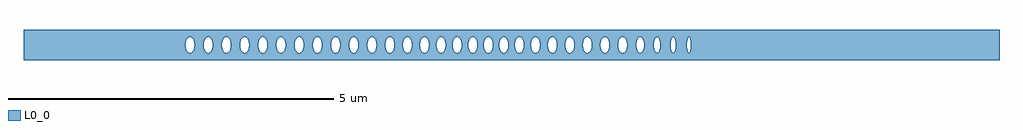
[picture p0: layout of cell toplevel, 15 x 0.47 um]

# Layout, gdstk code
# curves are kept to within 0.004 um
import gdstk
lib = gdstk.Library(unit=1e-6, precision=1e-09)
def P(c, l, *ps):  # polygons
    for p in ps: c.add(gdstk.Polygon(p, *l))
L0_0 = (0, 0)

toplevel = lib.new_cell('toplevel')
P(toplevel, L0_0, [(-4.451,0.016),(-4.438,0.072),(-4.438,0.235),(-7.5,0.235),(-7.5,-0.016),(-5.011,-0.016),(-5.008,0.038),(-4.998,0.073),(-4.975,0.109),(-4.945,0.124),(-4.919,0.118),(-4.889,0.085),(-4.875,0.046),(-4.87,0),(-4.732,0),(-4.727,0.046),(-4.712,0.085),(-4.695,0.109),(-4.666,0.124),(-4.639,0.118),(-4.616,0.096),(-4.599,0.06),(-4.591,0.016),(-4.594,-0.038),(-4.604,-0.073),(-4.627,-0.109),(-4.657,-0.124),(-4.683,-0.118),(-4.706,-0.096),(-4.727,-0.046),(-4.732,0),(-4.87,0),(-4.875,-0.046),(-4.889,-0.085),(-4.907,-0.109),(-4.936,-0.124),(-4.963,-0.118),(-4.986,-0.096),(-5.003,-0.06),(-5.011,-0.016),(-7.5,-0.016),(-7.5,-0.235),(-4.438,-0.235),(-4.438,-0.073),(-4.45,-0.031)],
  [(-4.436,0.078),(-4.419,0.105),(-4.403,0.118),(-4.386,0.124),(-4.368,0.122),(-4.347,0.109),(-4.324,0.073),(-4.313,0.031),(-4.312,-0.016),(-4.172,-0.016),(-4.169,0.038),(-4.153,0.085),(-4.128,0.115),(-4.097,0.124),(-4.068,0.109),(-4.05,0.085),(-4.036,0.046),(-4.031,-0.008),(-4.036,-0.046),(-4.05,-0.085),(-4.068,-0.109),(-4.097,-0.124),(-4.123,-0.118),(-4.147,-0.096),(-4.159,-0.073),(-4.172,-0.016),(-4.312,-0.016),(-4.32,-0.06),(-4.336,-0.096),(-4.355,-0.115),(-4.377,-0.124),(-4.395,-0.122),(-4.415,-0.109),(-4.438,-0.073),(-4.438,-0.235),(-3.818,-0.235),(-3.818,-0.124),(-3.844,-0.118),(-3.867,-0.096),(-3.884,-0.06),(-3.892,-0.016),(-3.888,0.046),(-3.873,0.085),(-3.844,0.118),(-3.818,0.124),(-3.818,0.235),(-4.438,0.235)],
  [(-3.818,0.235),(-3.818,0.124),(-3.788,0.109),(-3.771,0.085),(-3.756,0.046),(-3.752,-0.008),(-3.613,-0.008),(-3.611,0.031),(-3.597,0.079),(-3.576,0.109),(-3.547,0.124),(-3.521,0.118),(-3.497,0.096),(-3.485,0.073),(-3.472,0.016),(-3.475,-0.038),(-3.485,-0.073),(-3.508,-0.109),(-3.538,-0.124),(-3.564,-0.118),(-3.591,-0.09),(-3.608,-0.046),(-3.613,-0.008),(-3.752,-0.008),(-3.756,-0.046),(-3.777,-0.096),(-3.8,-0.118),(-3.818,-0.124),(-3.818,-0.235),(-3.197,-0.235),(-3.197,-0.046),(-3.208,-0.079),(-3.225,-0.105),(-3.249,-0.122),(-3.267,-0.124),(-3.289,-0.115),(-3.308,-0.096),(-3.32,-0.073),(-3.333,-0.016),(-3.33,0.038),(-3.32,0.073),(-3.297,0.109),(-3.276,0.122),(-3.249,0.122),(-3.229,0.109),(-3.211,0.085),(-3.197,0.046),(-3.197,0.235)],
  [(-2.493,0.016),(-2.491,0.235),(-3.197,0.235),(-3.193,-0.016),(-3.053,-0.016),(-3.05,0.038),(-3.04,0.073),(-3.017,0.109),(-2.987,0.124),(-2.961,0.118),(-2.938,0.096),(-2.917,0.046),(-2.913,-0.008),(-2.774,-0.008),(-2.769,0.046),(-2.758,0.079),(-2.737,0.109),(-2.708,0.124),(-2.681,0.118),(-2.658,0.096),(-2.641,0.06),(-2.633,0.016),(-2.636,-0.038),(-2.646,-0.073),(-2.669,-0.109),(-2.699,-0.124),(-2.725,-0.118),(-2.748,-0.096),(-2.765,-0.06),(-2.774,-0.008),(-2.913,-0.008),(-2.917,-0.046),(-2.938,-0.096),(-2.961,-0.118),(-2.978,-0.124),(-3.005,-0.118),(-3.028,-0.096),(-3.045,-0.06),(-3.053,-0.016),(-3.193,-0.016),(-3.197,-0.235),(-2.491,-0.235)],
  [(-1.939,0.016),(-1.924,0.079),(-1.891,0.118),(-1.891,0.235),(-2.491,0.235),(-2.491,0.038),(-2.481,0.073),(-2.461,0.105),(-2.437,0.122),(-2.419,0.124),(-2.39,0.109),(-2.369,0.079),(-2.356,0.038),(-2.354,-0.016),(-2.215,-0.016),(-2.212,0.038),(-2.196,0.085),(-2.171,0.115),(-2.14,0.124),(-2.111,0.109),(-2.093,0.085),(-2.079,0.046),(-2.074,0.008),(-2.076,-0.031),(-2.09,-0.079),(-2.111,-0.109),(-2.14,-0.124),(-2.166,-0.118),(-2.19,-0.096),(-2.202,-0.073),(-2.215,-0.016),(-2.354,-0.016),(-2.358,-0.046),(-2.375,-0.09),(-2.39,-0.109),(-2.419,-0.124),(-2.437,-0.122),(-2.461,-0.105),(-2.481,-0.073),(-2.491,-0.038),(-2.491,-0.235),(-1.891,-0.235),(-1.891,-0.118),(-1.914,-0.096),(-1.929,-0.066),(-1.938,-0.031)],
  [(-1.882,0.122),(-1.847,0.118),(-1.824,0.096),(-1.805,0.053),(-1.799,-0.008),(-1.67,-0.008),(-1.667,0.038),(-1.645,0.096),(-1.613,0.122),(-1.586,0.122),(-1.562,0.105),(-1.545,0.079),(-1.531,0.031),(-1.529,-0.008),(-1.534,-0.046),(-1.548,-0.085),(-1.566,-0.109),(-1.595,-0.124),(-1.621,-0.118),(-1.645,-0.096),(-1.665,-0.046),(-1.67,-0.008),(-1.799,-0.008),(-1.805,-0.053),(-1.831,-0.105),(-1.86,-0.123),(-1.891,-0.118),(-1.891,-0.235),(-1.296,-0.235),(-1.296,-0.1),(-1.315,-0.118),(-1.333,-0.124),(-1.35,-0.122),(-1.371,-0.109),(-1.397,-0.066),(-1.408,-0.008),(-1.399,0.06),(-1.371,0.109),(-1.35,0.122),(-1.333,0.124),(-1.315,0.118),(-1.296,0.1),(-1.296,0.235),(-1.891,0.235),(-1.891,0.118)],
  [(-0.905,0.016),(-0.901,0.046),(-0.884,0.09),(-0.869,0.109),(-0.84,0.124),(-0.814,0.118),(-0.791,0.096),(-0.778,0.073),(-0.766,0.023),(-0.766,0.235),(-1.296,0.235),(-1.296,0.1),(-1.273,0.053),(-1.267,-0.016),(-1.153,-0.016),(-1.15,0.038),(-1.14,0.073),(-1.117,0.109),(-1.087,0.124),(-1.061,0.118),(-1.034,0.09),(-1.017,0.046),(-1.012,0.008),(-1.014,-0.031),(-1.028,-0.079),(-1.049,-0.109),(-1.078,-0.124),(-1.104,-0.118),(-1.128,-0.096),(-1.14,-0.073),(-1.153,-0.016),(-1.267,-0.016),(-1.275,-0.06),(-1.296,-0.1),(-1.296,-0.235),(-0.766,-0.235),(-0.766,-0.023),(-0.778,-0.073),(-0.801,-0.109),(-0.822,-0.122),(-0.849,-0.122),(-0.873,-0.105),(-0.89,-0.079),(-0.904,-0.031)],
  [(-0.167,-0.235),(-0.167,-0.09),(-0.189,-0.016),(-0.186,0.038),(-0.167,0.09),(-0.167,0.235),(-0.766,0.235),(-0.766,-0.016),(-0.664,-0.016),(-0.661,0.038),(-0.651,0.073),(-0.628,0.109),(-0.598,0.124),(-0.572,0.118),(-0.543,0.085),(-0.528,0.046),(-0.524,-0.016),(-0.426,-0.016),(-0.423,0.038),(-0.413,0.073),(-0.39,0.109),(-0.36,0.124),(-0.334,0.118),(-0.304,0.085),(-0.29,0.046),(-0.285,0),(-0.29,-0.046),(-0.304,-0.085),(-0.322,-0.109),(-0.351,-0.124),(-0.378,-0.118),(-0.401,-0.096),(-0.418,-0.06),(-0.426,-0.016),(-0.524,-0.016),(-0.532,-0.06),(-0.549,-0.096),(-0.572,-0.118),(-0.59,-0.124),(-0.616,-0.118),(-0.639,-0.096),(-0.656,-0.06),(-0.664,-0.016),(-0.766,-0.016),(-0.766,-0.235)],
  [(-0.16,0.1),(-0.145,0.115),(-0.123,0.124),(-0.105,0.122),(-0.081,0.105),(-0.064,0.079),(-0.053,0.046),(-0.049,-0.016),(0.051,-0.016),(0.057,0.053),(0.076,0.096),(0.099,0.118),(0.134,0.122),(0.155,0.109),(0.173,0.085),(0.187,0.046),(0.192,0),(0.187,-0.046),(0.173,-0.085),(0.155,-0.109),(0.134,-0.122),(0.108,-0.122),(0.083,-0.105),(0.059,-0.06),(0.051,-0.016),(-0.049,-0.016),(-0.067,-0.085),(-0.085,-0.109),(-0.105,-0.122),(-0.123,-0.124),(-0.14,-0.118),(-0.167,-0.09),(-0.167,-0.235),(0.374,-0.235),(0.374,-0.124),(0.347,-0.118),(0.324,-0.096),(0.307,-0.06),(0.299,-0.016),(0.302,0.038),(0.318,0.085),(0.347,0.118),(0.374,0.124),(0.374,0.235),(-0.167,0.235),(-0.167,0.09)],
  [(0.826,0.016),(0.844,0.085),(0.862,0.109),(0.882,0.122),(0.909,0.122),(0.93,0.109),(0.957,0.06),(0.957,0.235),(0.374,0.235),(0.374,0.124),(0.403,0.109),(0.426,0.073),(0.435,0.046),(0.439,-0.016),(0.558,-0.016),(0.561,0.038),(0.571,0.073),(0.594,0.109),(0.624,0.124),(0.65,0.118),(0.677,0.09),(0.694,0.046),(0.699,0.008),(0.697,-0.031),(0.683,-0.079),(0.662,-0.109),(0.633,-0.124),(0.607,-0.118),(0.583,-0.096),(0.571,-0.073),(0.558,-0.016),(0.439,-0.016),(0.431,-0.06),(0.414,-0.096),(0.391,-0.118),(0.374,-0.124),(0.374,-0.235),(0.957,-0.235),(0.957,-0.06),(0.941,-0.096),(0.922,-0.115),(0.9,-0.124),(0.874,-0.118),(0.851,-0.096),(0.836,-0.066),(0.826,-0.023)],
  [(0.965,-0.023),(0.957,-0.06),(0.957,-0.235),(1.641,-0.235),(1.641,0.235),(0.957,0.235),(0.957,0.059),(0.966,-0.008),(1.095,-0.008),(1.097,0.031),(1.111,0.079),(1.132,0.109),(1.161,0.124),(1.196,0.112),(1.217,0.085),(1.233,0.038),(1.236,-0.008),(1.365,-0.008),(1.368,0.038),(1.391,0.096),(1.422,0.122),(1.44,0.124),(1.457,0.118),(1.49,0.079),(1.504,0.031),(1.506,-0.008),(1.49,-0.079),(1.473,-0.105),(1.449,-0.122),(1.422,-0.122),(1.391,-0.096),(1.374,-0.06),(1.365,-0.008),(1.236,-0.008),(1.233,-0.038),(1.217,-0.085),(1.2,-0.109),(1.17,-0.124),(1.144,-0.118),(1.117,-0.09),(1.1,-0.046),(1.095,-0.008),(0.966,-0.008)],
  [(1.643,0.046),(1.67,0.105),(1.695,0.122),(1.713,0.124),(1.742,0.109),(1.765,0.073),(1.774,0.046),(1.778,-0.015),(1.918,-0.015),(1.922,0.045),(1.934,0.084),(1.956,0.114),(1.982,0.123),(2.008,0.108),(2.023,0.084),(2.035,0.045),(2.039,-0.008),(2.023,-0.084),(2.008,-0.108),(1.982,-0.123),(1.96,-0.117),(1.937,-0.09),(1.925,-0.059),(1.918,-0.015),(1.778,-0.015),(1.77,-0.06),(1.753,-0.096),(1.73,-0.118),(1.713,-0.124),(1.695,-0.122),(1.67,-0.105),(1.651,-0.073),(1.641,-0.038),(1.641,-0.235),(2.241,-0.235),(2.241,-0.122),(2.222,-0.116),(2.205,-0.094),(2.187,-0.015),(2.189,0.038),(2.2,0.084),(2.222,0.116),(2.241,0.122),(2.241,0.235),(1.641,0.235)],
  [(2.287,-0.023),(2.27,-0.094),(2.253,-0.116),(2.241,-0.122),(2.241,-0.235),(7.5,-0.235),(7.5,0.235),(2.241,0.235),(2.241,0.122),(2.262,0.107),(2.274,0.084),(2.286,0.038),(2.288,0),(2.444,0),(2.455,0.083),(2.47,0.113),(2.483,0.121),(2.5,0.113),(2.515,0.083),(2.525,0.03),(2.525,-0.022),(2.695,-0.022),(2.703,0.082),(2.712,0.109),(2.724,0.12),(2.739,0.109),(2.752,0.064),(2.753,-0.058),(2.744,-0.097),(2.728,-0.12),(2.714,-0.112),(2.707,-0.097),(2.695,-0.022),(2.525,-0.022),(2.515,-0.083),(2.505,-0.106),(2.488,-0.121),(2.47,-0.113),(2.455,-0.083),(2.444,0),(2.288,0)])

lib.write_gds('toplevel.gds')
